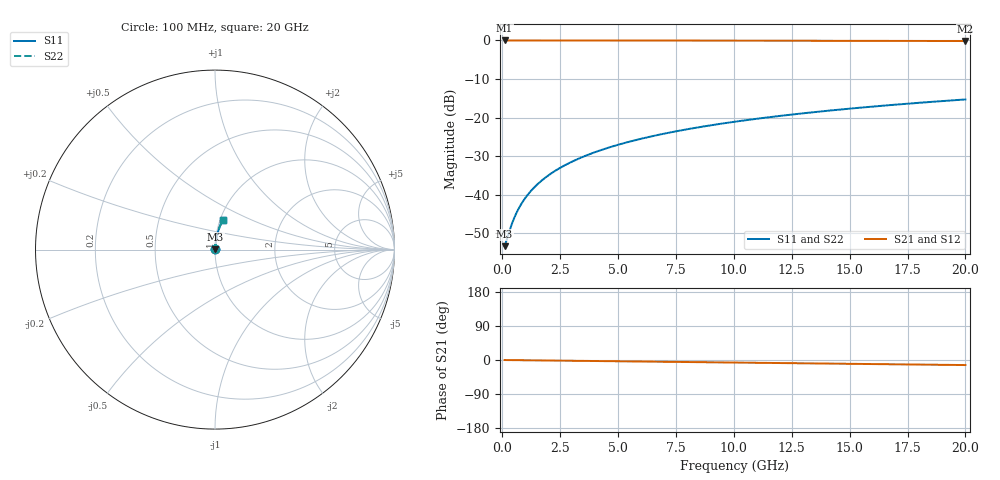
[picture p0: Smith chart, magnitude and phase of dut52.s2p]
! Touchstone file exported from HFSS 2026.1.0
!  File:  C:/ffzhzh/LocalFiles/Ansys_Project_Files/temp_train_TSV_52_1782958826_6388.aedt
!  Generated:  10:23:38 AM Jul  2, 2026
!  Design:  TSV
!  Project:  temp_train_TSV_52_1782958826_6388
! Variables:
!  h_bsmrdl = 2um
!  h_ox = 20um
!  h_rdl = 5um
!  h_sub = 83.88um
!  h_tmrdl = 5um
!  h_tsv = 83.88um
!  h_via = 3um
!  l_bsmrdl = 300um
!  l_sub = 404.42um
!  l_tmrdl = 200um
!  m_sub = 200um
!  pitch = 54.46um
!  r_tsv = 2.21um
!  s_tmrdl = 10um
!  w_bsmrdl = 18um
!  w_sub = 500um
!  w_tmrdl = 12um
!  x_tsv_center1 = 206um
!  x_tsv_center2 = 524um
!  x_tsv_center3 = 736um
!  x_tsv_center4 = 1054um
!  x_tsv_center5 = 1266um
!  x_tsv_center6 = 1584um
# GHz S MA R 50.000000
! Terminal data exported
! Port[1] = TSV1_1_T1
! Port[2] = TSV1_1_T2
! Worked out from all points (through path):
!   200 points, 100 MHz to 20 GHz, reference 50 ohm
!   highest |S21| = -0.02 dB at 100 MHz (marker M1); lowest = -0.2 dB at 20 GHz (marker M2)
!   group delay of S21, straight-line fit = 1.85 ps
!   lowest |S11| = -53.3 dB at 100 MHz (marker M3), VSWR 1.00, Z = 50.2 + j0.09 ohm
!   |S11| at or under -10 dB: start of sweep to end of sweep
!   |S22| runs from -53.3 to -15.3 dB; largest |S21 - S12| = 3e-15
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0.1  0.002165 24.5  0.998 -0.1  0.998 -0.1  0.002165 24.5
! Gamma 0 0 0 0
! Port Impedance 50 0 50 0
0.4  0.0041 60.8  0.998 -0.3  0.998 -0.3  0.0041 60.8
0.5  0.004904 65.7  0.998 -0.3  0.998 -0.3  0.004904 65.7
0.6  0.005734 69.2  0.998 -0.4  0.998 -0.4  0.005734 69.2
0.7  0.006579 71.8  0.998 -0.5  0.998 -0.5  0.006579 71.8
0.9  0.008298 75.4  0.998 -0.6  0.998 -0.6  0.008298 75.4
1.2  0.01091 78.5  0.9979 -0.8  0.9979 -0.8  0.01091 78.5
1.4  0.01267 79.8  0.9979 -1.0  0.9979 -1.0  0.01267 79.8
1.7  0.01531 81.1  0.9978 -1.2  0.9978 -1.2  0.01531 81.1
2.2  0.01973 82.4  0.9977 -1.5  0.9977 -1.5  0.01973 82.4
2.8  0.02504 83.2  0.9976 -1.9  0.9976 -1.9  0.02504 83.2
3.5  0.03124 83.6  0.9973 -2.4  0.9973 -2.4  0.03124 83.6
4.2  0.03743 83.7  0.9971 -2.9  0.9971 -2.9  0.03743 83.7
5  0.04449 83.6  0.9967 -3.4  0.9967 -3.4  0.04449 83.6
5.9  0.05242 83.3  0.9962 -4.0  0.9962 -4.0  0.05242 83.3
6.8  0.06032 83.0  0.9956 -4.6  0.9956 -4.6  0.06032 83.0
8.3  0.07342 82.2  0.9946 -5.6  0.9946 -5.6  0.07342 82.2
10.1  0.08901 81.2  0.993 -6.8  0.993 -6.8  0.08901 81.2
11.7  0.1027 80.3  0.9914 -7.9  0.9914 -7.9  0.1027 80.3
13.4  0.1172 79.2  0.9896 -9.0  0.9896 -9.0  0.1172 79.2
16.7  0.1449 77.2  0.9854 -11.2  0.9854 -11.2  0.1449 77.2
20  0.1719 75.2  0.9806 -13.3  0.9806 -13.3  0.1719 75.2
